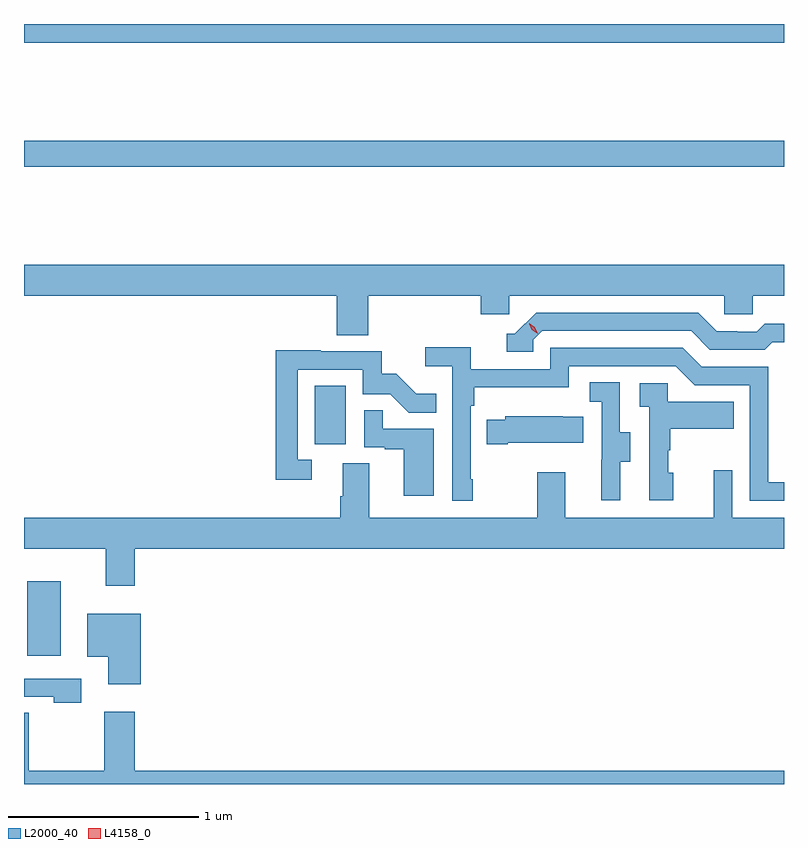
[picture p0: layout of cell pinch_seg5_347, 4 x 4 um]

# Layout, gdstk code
import gdstk
lib = gdstk.Library(unit=1e-6, precision=1e-09)
def R(c, l, rs):  # rectangles x0, y0, x1, y1
    for r in rs: c.add(gdstk.rectangle(r[:2], r[2:], *l))
def P(c, l, *ps):  # polygons
    for p in ps: c.add(gdstk.Polygon(p, *l))
L2000_40 = (2000, 40)
L4158_0 = (4158, 0)

pinch_seg5_347 = lib.new_cell('pinch_seg5_347')
R(pinch_seg5_347, L2000_40, [(975.44,885.5,975.616,885.892), (976.952,886.614,977.116,886.921), (975.422,888.076,979.422,888.212), (975.422,888.728,979.422,888.826)])
P(pinch_seg5_347, L2000_40, [(977.234,887.396),(977.825,887.396),(977.825,887.298),(977.976,887.298),(977.976,887.396),(979.107,887.396),(979.107,887.298),(979.257,887.298),(979.257,887.396),(979.422,887.396),(979.422,887.56),(975.422,887.56),(975.422,887.396),(977.069,887.396),(977.069,887.188),(977.234,887.188)],
  [(978.102,887.163),(978.15,887.211),(978.933,887.211),(979.032,887.112),(979.321,887.112),(979.36,887.151),(979.422,887.151),(979.422,887.248),(979.321,887.248),(979.279,887.205),(979.176,887.205),(979.176,887.208),(979.069,887.208),(978.97,887.307),(978.117,887.307),(978.006,887.196),(977.963,887.196),(977.963,887.1),(978.102,887.1)],
  [(977.785,886.429),(977.772,886.429),(977.772,886.817),(977.792,886.817),(977.792,886.913),(978.288,886.913),(978.288,887.025),(978.852,887.025),(978.951,886.926),(979.242,886.926),(979.242,886.317),(979.422,886.317),(979.422,886.413),(979.338,886.413),(979.338,887.022),(978.988,887.022),(978.889,887.121),(978.192,887.121),(978.192,887.01),(977.774,887.01),(977.774,887.126),(977.535,887.126),(977.535,887.024),(977.676,887.024),(977.676,886.317),(977.785,886.317)],
  [(976.936,886.533),(976.863,886.533),(976.863,887.007),(977.205,887.007),(977.205,886.878),(977.349,886.878),(977.447,886.78),(977.591,886.78),(977.591,886.879),(977.487,886.879),(977.38,886.986),(977.304,886.986),(977.304,887.103),(976.985,887.103),(976.985,887.108),(976.747,887.108),(976.747,886.428),(976.936,886.428)],
  [(978.559,886.522),(978.613,886.522),(978.613,886.677),(978.558,886.677),(978.558,886.94),(978.399,886.94),(978.399,886.837),(978.462,886.837),(978.462,886.533),(978.461,886.533),(978.461,886.32),(978.559,886.32)],
  [(978.838,886.464),(978.813,886.464),(978.813,886.583),(978.823,886.583),(978.823,886.697),(979.157,886.697),(979.157,886.837),(978.81,886.837),(978.81,886.935),(978.663,886.935),(978.663,886.811),(978.714,886.811),(978.714,886.32),(978.838,886.32)],
  [(977.578,886.695),(977.309,886.695),(977.309,886.793),(977.214,886.793),(977.214,886.599),(977.321,886.599),(977.321,886.587),(977.42,886.587),(977.42,886.344),(977.578,886.344)],
  [(977.968,886.622),(978.365,886.622),(978.365,886.759),(978.257,886.759),(978.257,886.762),(977.955,886.762),(977.955,886.744),(977.857,886.744),(977.857,886.615),(977.968,886.615)],
  [(976.004,886.064),(979.422,886.064),(979.422,886.228),(979.149,886.228),(979.149,886.477),(979.052,886.477),(979.052,886.228),(978.271,886.228),(978.271,886.468),(978.124,886.468),(978.124,886.228),(977.239,886.228),(977.239,886.514),(977.099,886.514),(977.099,886.34),(977.087,886.34),(977.087,886.228),(975.422,886.228),(975.422,886.064),(975.851,886.064),(975.851,885.87),(976.004,885.87)],
  [(976.037,885.721),(975.755,885.721),(975.755,885.497),(975.866,885.497),(975.866,885.351),(976.037,885.351)],
  [(975.724,885.381),(975.422,885.381),(975.422,885.285),(975.579,885.285),(975.579,885.253),(975.724,885.253)],
  [(979.422,884.896),(976.004,884.896),(976.004,885.205),(975.844,885.205),(975.844,884.896),(975.446,884.896),(975.446,885.2),(975.422,885.2),(975.422,884.826),(979.422,884.826)])
P(pinch_seg5_347, L4158_0, [(978.125,887.196),(978.095,887.216),(978.08,887.249),(978.08,887.25),(978.08,887.25),(978.11,887.229),(978.125,887.196),(978.125,887.196)])

lib.write_gds('pinch_seg5_347.gds')
